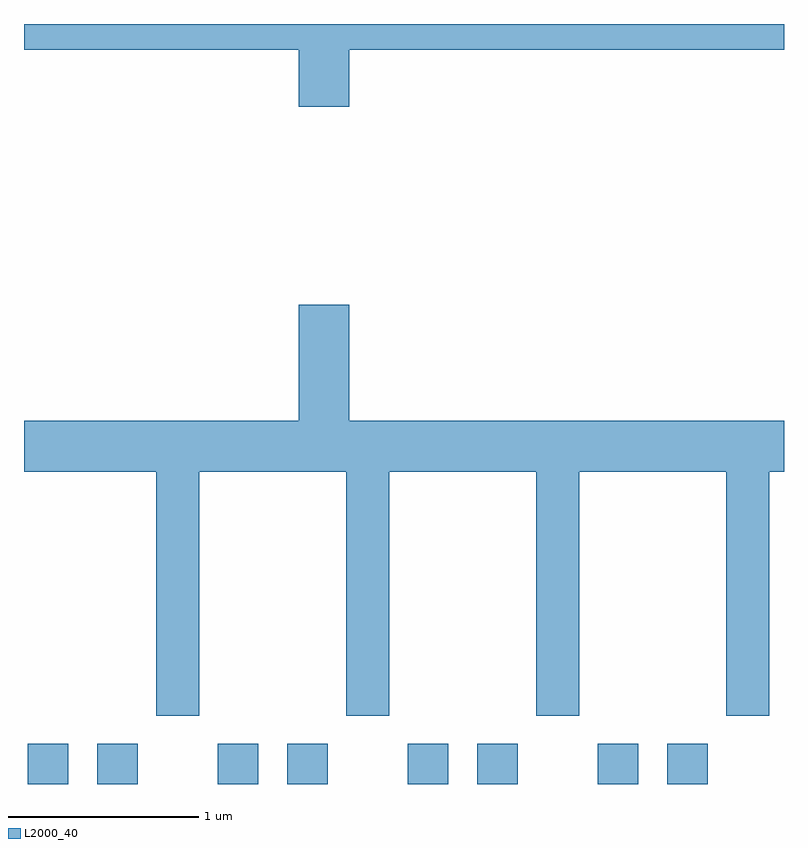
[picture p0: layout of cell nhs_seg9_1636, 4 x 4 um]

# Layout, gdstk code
import gdstk
lib = gdstk.Library(unit=1e-6, precision=1e-09)
def R(c, l, rs):  # rectangles x0, y0, x1, y1
    for r in rs: c.add(gdstk.rectangle(r[:2], r[2:], *l))
def P(c, l, *ps):  # polygons
    for p in ps: c.add(gdstk.Polygon(p, *l))
L2000_40 = (2000, 40)

nhs_seg9_1636 = lib.new_cell('nhs_seg9_1636')
R(nhs_seg9_1636, L2000_40, [(233.631,1952.432,233.844,1952.644), (233.996,1952.432,234.209,1952.644), (234.631,1952.432,234.844,1952.644), (234.996,1952.432,235.209,1952.644), (235.631,1952.432,235.844,1952.644), (235.996,1952.432,236.209,1952.644), (236.631,1952.432,236.844,1952.644), (236.996,1952.432,237.209,1952.644)])
P(nhs_seg9_1636, L2000_40, [(235.324,1956.296),(237.611,1956.296),(237.611,1956.432),(233.611,1956.432),(233.611,1956.296),(235.056,1956.296),(235.056,1955.996),(235.324,1955.996)],
  [(234.534,1954.076),(235.306,1954.076),(235.306,1952.791),(235.534,1952.791),(235.534,1954.076),(236.306,1954.076),(236.306,1952.791),(236.534,1952.791),(236.534,1954.076),(237.306,1954.076),(237.306,1952.791),(237.534,1952.791),(237.534,1954.076),(237.611,1954.076),(237.611,1954.344),(235.324,1954.344),(235.324,1954.954),(235.056,1954.954),(235.056,1954.344),(233.611,1954.344),(233.611,1954.076),(234.306,1954.076),(234.306,1952.791),(234.534,1952.791)])

lib.write_gds('nhs_seg9_1636.gds')
